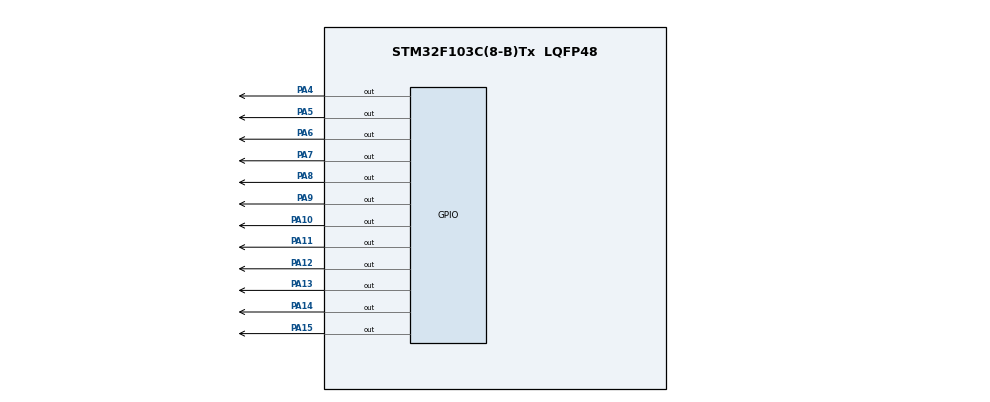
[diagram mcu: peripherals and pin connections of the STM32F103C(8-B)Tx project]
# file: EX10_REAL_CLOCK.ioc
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Mcu.Family=STM32F1
Mcu.Name=STM32F103C(8-B)Tx
Mcu.Package=LQFP48
NVIC.PriorityGroup=NVIC_PRIORITYGROUP_4
PA10.Signal=GPIO_Output
PA11.Signal=GPIO_Output
PA12.Signal=GPIO_Output
PA13.Signal=GPIO_Output
PA14.Signal=GPIO_Output
PA15.Signal=GPIO_Output
PA4.Signal=GPIO_Output
PA5.Signal=GPIO_Output
PA6.Signal=GPIO_Output
PA7.Signal=GPIO_Output
PA8.Signal=GPIO_Output
PA9.Signal=GPIO_Output
ProjectManager.HeapSize=0x200
ProjectManager.StackSize=0x400
ProjectManager.TargetToolchain=MDK-ARM V5.32
RCC.APB1Freq_Value=8000000
RCC.APB2Freq_Value=8000000
VP_SYS_VS_ND.Mode=No_Debug
board=custom

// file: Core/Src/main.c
/* USER CODE BEGIN Header */
/**
  ******************************************************************************
  * @file           : main.c
  * @brief          : Main program body
  ******************************************************************************
  * @attention
  *
  * Copyright (c) 2026 STMicroelectronics.
  * All rights reserved.
  *
  * This software is licensed under terms that can be found in the LICENSE file
  * in the root directory of this software component.
  * If no LICENSE file comes with this software, it is provided AS-IS.
  *
  ******************************************************************************
  */
/* USER CODE END Header */
#include "main.h"

/* USER CODE BEGIN PD */
#define ALL_CLOCK_LEDS (GPIO_PIN_4  | GPIO_PIN_5  | GPIO_PIN_6  | \
                        GPIO_PIN_7  | GPIO_PIN_8  | GPIO_PIN_9  | \
                        GPIO_PIN_10 | GPIO_PIN_11 | GPIO_PIN_12 | \
                        GPIO_PIN_13 | GPIO_PIN_14 | GPIO_PIN_15)
/* USER CODE END PD */

void SystemClock_Config(void);
static void MX_GPIO_Init(void);

/* USER CODE BEGIN 0 */

static const uint16_t clock_led[12] =
{
    GPIO_PIN_4,
    GPIO_PIN_5,
    GPIO_PIN_6,
    GPIO_PIN_7,
    GPIO_PIN_8,
    GPIO_PIN_9,
    GPIO_PIN_10,
    GPIO_PIN_11,
    GPIO_PIN_12,
    GPIO_PIN_13,
    GPIO_PIN_14,
    GPIO_PIN_15
};

int hour = 2;
int minute = 25;
int second = 45;

void clearAllClock(void)
{
    HAL_GPIO_WritePin(
        GPIOA,
        ALL_CLOCK_LEDS,
        GPIO_PIN_RESET
    );
}

void displayClock(int hour, int minute, int second)
{
    int hour_position = hour % 12;
    int minute_position = minute / 5;
    int second_position = second / 5;

    uint16_t led_to_turn_on =
        clock_led[hour_position] |
        clock_led[minute_position] |
        clock_led[second_position];

    clearAllClock();

    HAL_GPIO_WritePin(GPIOA,
        led_to_turn_on,
        GPIO_PIN_SET
    );
}

void updateClock(void)
{
    second++;

    if (second >= 60)
    {
        second = 0;
        minute++;
    }

    if (minute >= 60)
    {
        minute = 0;
        hour++;
    }

    if (hour >= 24)
    {
        hour = 0;
    }
}
/* USER CODE END 0 */

int main(void)
{

  /* MCU Configuration--------------------------------------------------------*/

  /* Reset of all peripherals, Initializes the Flash interface and the Systick. */
  HAL_Init();

  /* Configure the system clock */
  SystemClock_Config();

  /* Initialize all configured peripherals */
  MX_GPIO_Init();

  /* Infinite loop */
  while (1)
  {

    /* USER CODE BEGIN 3 */
		displayClock(hour, minute, second);

    HAL_Delay(1000);

    updateClock();
  }
  /* USER CODE END 3 */
}

void SystemClock_Config(void)
{
  RCC_OscInitTypeDef RCC_OscInitStruct = {0};
  RCC_ClkInitTypeDef RCC_ClkInitStruct = {0};

  /** Initializes the RCC Oscillators according to the specified parameters
  * in the RCC_OscInitTypeDef structure.
  */
  RCC_OscInitStruct.OscillatorType = RCC_OSCILLATORTYPE_HSI;
  RCC_OscInitStruct.HSIState = RCC_HSI_ON;
  RCC_OscInitStruct.HSICalibrationValue = RCC_HSICALIBRATION_DEFAULT;
  RCC_OscInitStruct.PLL.PLLState = RCC_PLL_NONE;
  if (HAL_RCC_OscConfig(&RCC_OscInitStruct) != HAL_OK)
  {
    Error_Handler();
  }

  /** Initializes the CPU, AHB and APB buses clocks
  */
  RCC_ClkInitStruct.ClockType = RCC_CLOCKTYPE_HCLK|RCC_CLOCKTYPE_SYSCLK
                              |RCC_CLOCKTYPE_PCLK1|RCC_CLOCKTYPE_PCLK2;
  RCC_ClkInitStruct.SYSCLKSource = RCC_SYSCLKSOURCE_HSI;
  RCC_ClkInitStruct.AHBCLKDivider = RCC_SYSCLK_DIV1;
  RCC_ClkInitStruct.APB1CLKDivider = RCC_HCLK_DIV1;
  RCC_ClkInitStruct.APB2CLKDivider = RCC_HCLK_DIV1;

  if (HAL_RCC_ClockConfig(&RCC_ClkInitStruct, FLASH_LATENCY_0) != HAL_OK)
  {
    Error_Handler();
  }
}

static void MX_GPIO_Init(void)
{
  GPIO_InitTypeDef GPIO_InitStruct = {0};

  /* GPIO Ports Clock Enable */
  __HAL_RCC_GPIOA_CLK_ENABLE();

  /*Configure GPIO pin Output Level */
  HAL_GPIO_WritePin(GPIOA, GPIO_PIN_4|GPIO_PIN_5|GPIO_PIN_6|GPIO_PIN_7
                          |GPIO_PIN_8|GPIO_PIN_9|GPIO_PIN_10|GPIO_PIN_11
                          |GPIO_PIN_12|GPIO_PIN_13|GPIO_PIN_14|GPIO_PIN_15, GPIO_PIN_RESET);

  /*Configure GPIO pins : PA4 PA5 PA6 PA7
                           PA8 PA9 PA10 PA11
                           PA12 PA13 PA14 PA15 */
  GPIO_InitStruct.Pin = GPIO_PIN_4|GPIO_PIN_5|GPIO_PIN_6|GPIO_PIN_7
                          |GPIO_PIN_8|GPIO_PIN_9|GPIO_PIN_10|GPIO_PIN_11
                          |GPIO_PIN_12|GPIO_PIN_13|GPIO_PIN_14|GPIO_PIN_15;
  GPIO_InitStruct.Mode = GPIO_MODE_OUTPUT_PP;
  GPIO_InitStruct.Pull = GPIO_NOPULL;
  GPIO_InitStruct.Speed = GPIO_SPEED_FREQ_LOW;
  HAL_GPIO_Init(GPIOA, &GPIO_InitStruct);

}

void Error_Handler(void)
{
  __disable_irq();
  while (1)
  {
  }
}
